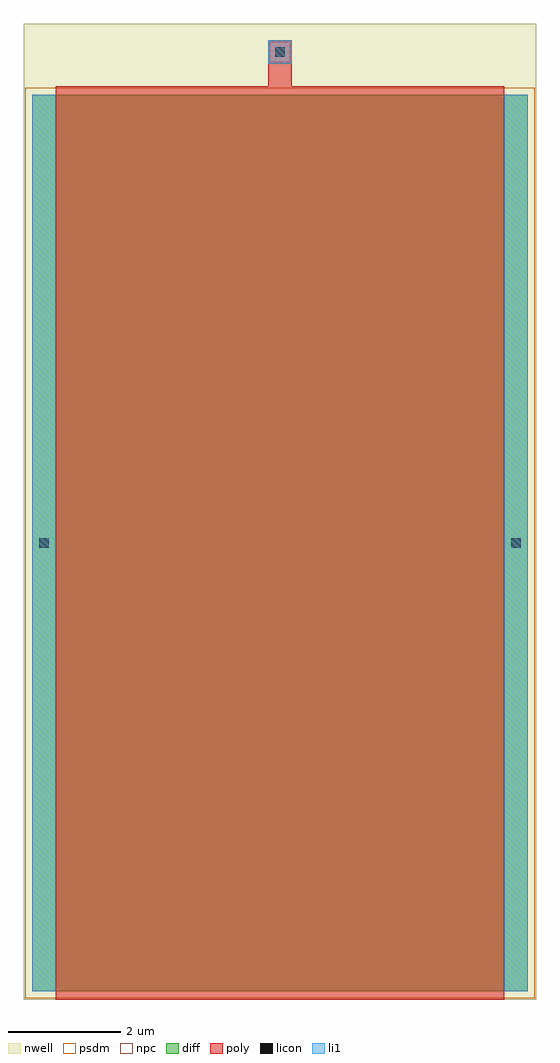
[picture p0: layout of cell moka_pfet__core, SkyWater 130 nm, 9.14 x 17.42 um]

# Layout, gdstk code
import gdstk
lib = gdstk.Library(unit=1e-6, precision=1e-09)
def R(c, l, rs):  # rectangles x0, y0, x1, y1
    for r in rs: c.add(gdstk.rectangle(r[:2], r[2:], *l))
nwell = (64, 20)
diff = (65, 20)
poly = (66, 20)
licon = (66, 44)
li1 = (67, 20)
psdm = (94, 20)
npc = (95, 20)

moka_pfet__core = lib.new_cell('moka_pfet__core')
R(moka_pfet__core, nwell, [(-0.15,-0.15,8.99,17.27)])
R(moka_pfet__core, diff, [(0,0,8.84,16)])
R(moka_pfet__core, poly, [(0.42,-0.15,8.42,16), (0.42,16,8.42,16.15), (0.42,16,8.42,16.15), (4.21,16.15,4.63,16.97)])
R(moka_pfet__core, licon, [(0.125,7.915,0.295,8.085), (8.545,7.915,8.715,8.085), (4.335,16.675,4.505,16.845)])
R(moka_pfet__core, li1, [(0,0,0.42,16), (8.42,0,8.84,16), (4.21,16.55,4.63,16.97)])
R(moka_pfet__core, psdm, [(-0.125,-0.125,8.965,16.125)])
R(moka_pfet__core, npc, [(4.235,16.575,4.605,16.945)])

lib.write_gds('moka_pfet__core.gds')
